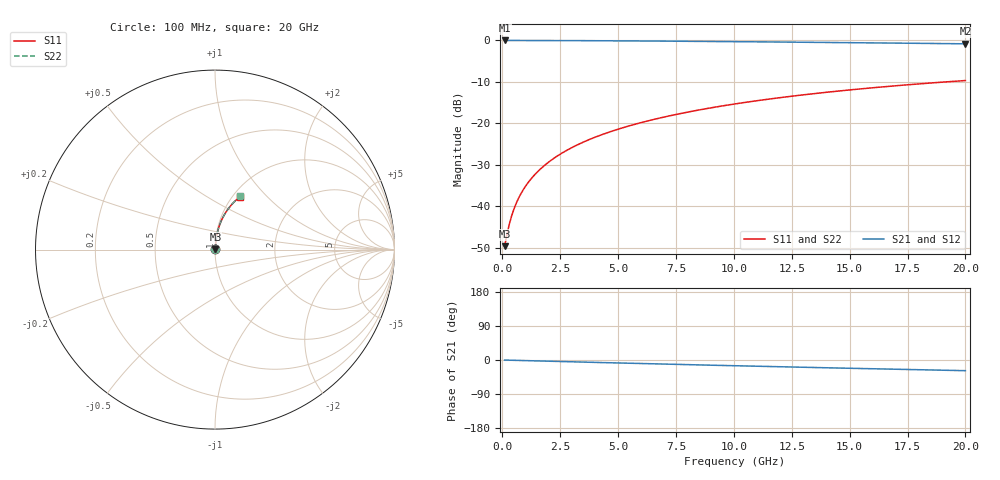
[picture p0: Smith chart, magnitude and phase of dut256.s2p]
! Touchstone file exported from HFSS 2024.1.0
!  File:  C:/UserFiles/LocalFiles/RDL_TSV_Batchsim/temp_RDL_top_256_1778689138.aedt
!  Generated:  12:21:05 AM May 14, 2026
!  Design:  RDL_top
!  Project:  temp_RDL_top_256_1778689138
!  Setup:  Setup1
!  Solution:  Sweep
! Variables:
!  dtsv = 10.80580581um
!  hbump = 3um
!  htsv = 51.41um
!  ldown = 100um
!  lrdl = 357.06um
!  p = 40
!  p1 = 44.29um
!  rhole = 1um
!  t = 450um
!  tdown = 3.915915916um
!  trdl = 3.43um
!  wdown = 15.38538539um
!  wrdl = 14.06um
# GHz S MA R 50.000000
! Terminal data exported
! Port[1] = Box2_T1
! Port[2] = Box2_T2
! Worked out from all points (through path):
!   200 points, 100 MHz to 20 GHz, reference 50 ohm
!   highest |S21| = -0.02 dB at 100 MHz (marker M1); lowest = -0.8 dB at 20 GHz (marker M2)
!   group delay of S21, straight-line fit = 3.9 ps
!   lowest |S11| = -49.7 dB at 100 MHz (marker M3), VSWR 1.01, Z = 50.3 + j0.178 ohm
!   |S11| at or under -10 dB: start of sweep to 19.22 GHz
!   |S22| runs from -49.7 to -9.7 dB; largest |S21 - S12| = 3e-15
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0.1  0.003281 32.6  0.9972 -0.2  0.9972 -0.2  0.003281 32.6
! Gamma 0 0 0 0
! Port Impedance 50 0 50 0
0.2  0.004512 51.3  0.9972 -0.3  0.9972 -0.3  0.004512 51.3
0.3  0.005995 61.1  0.9971 -0.5  0.9971 -0.5  0.005995 61.1
0.4  0.007562 66.8  0.997 -0.7  0.997 -0.7  0.007562 66.8
0.5  0.00916 70.4  0.9969 -0.8  0.9969 -0.8  0.00916 70.4
0.6  0.01077 73.0  0.9968 -1.0  0.9968 -1.0  0.01077 73.0
0.8  0.01402 76.4  0.9966 -1.3  0.9966 -1.3  0.01402 76.4
1.1  0.01895 79.3  0.9963 -1.8  0.9963 -1.8  0.01895 79.3
1.3  0.02225 80.4  0.9961 -2.1  0.9961 -2.1  0.02225 80.4
1.6  0.02723 81.6  0.9957 -2.6  0.9957 -2.6  0.02723 81.6
2.1  0.03558 82.7  0.9949 -3.3  0.9949 -3.3  0.03558 82.7
2.7  0.04566 83.2  0.9937 -4.3  0.9937 -4.3  0.04566 83.2
3.5  0.05917 83.2  0.9917 -5.5  0.9917 -5.5  0.05917 83.2
4.2  0.07105 83.0  0.9897 -6.6  0.9897 -6.6  0.07106 83.0
5  0.08469 82.5  0.987 -7.8  0.987 -7.8  0.0847 82.5
5.9  0.1001 81.8  0.9836 -9.2  0.9836 -9.2  0.1001 81.8
6.8  0.1155 80.9  0.98 -10.5  0.98 -10.5  0.1155 80.9
8.3  0.1412 79.3  0.9733 -12.7  0.9733 -12.7  0.1412 79.3
10.1  0.1718 77.2  0.9645 -15.2  0.9645 -15.2  0.1718 77.2
13.4  0.2266 73.0  0.9471 -19.7  0.9471 -19.7  0.2266 73.0
16.7  0.2787 68.8  0.9284 -24.0  0.9284 -24.0  0.2787 68.8
20  0.3275 64.6  0.9086 -28.2  0.9086 -28.2  0.3275 64.6
